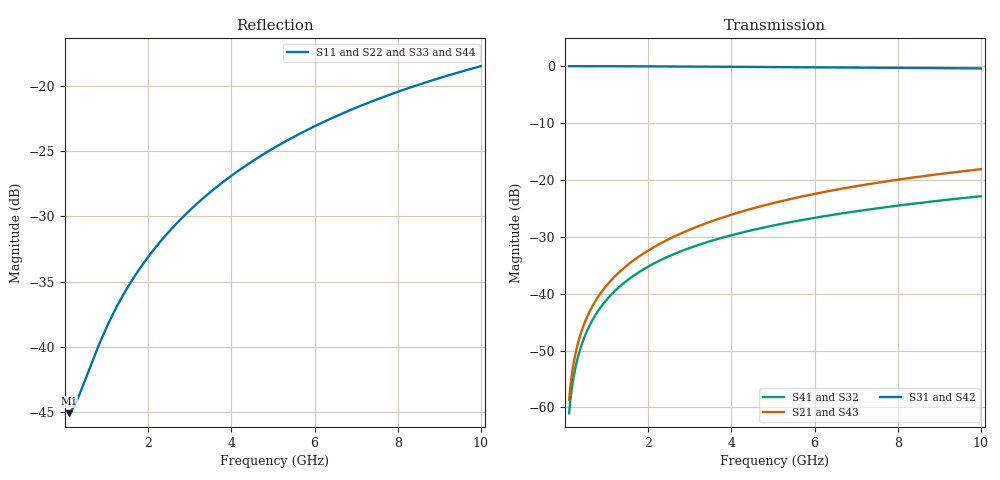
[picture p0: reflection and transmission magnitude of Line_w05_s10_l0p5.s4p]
! TOUCHSTONE file generated by CST MICROWAVE STUDIO
! Date and time: Mon Oct 20 12:54:10 2014
! Project name: Untitled_1.cst
# GHZ S MA R 50
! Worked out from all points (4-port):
!   1001 points, 100 MHz to 10 GHz, reference 50 ohm
!   strongest paths, dB at 100 MHz, 2.575 GHz, 5.05 GHz, 7.525 GHz, 10 GHz:
!     S31: 0.0, -0.1, -0.2, -0.3, -0.4
!     S42: 0.0, -0.1, -0.2, -0.3, -0.4
!     S21: -58.6, -30.2, -24.0, -20.5, -18.2
!     S43: -58.6, -30.2, -24.0, -20.5, -18.2
!     S41: -61.0, -33.2, -28.0, -25.0, -22.9
!     S32: -61.0, -33.2, -28.0, -25.0, -22.9
!   lowest |S11| = -45.1 dB at 100 MHz (marker M1), VSWR 1.01, Z = 50.5 + j0.106 ohm
!   |S11| at or under -10 dB: start of sweep to end of sweep
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0.1  0.005569 10.8  0.00117 89.9  0.9945 -0.2  0.0008881 -90.5
     0.00117 89.9  0.00557 10.9  0.0008881 -90.5  0.9945 -0.2
     0.9945 -0.2  0.0008881 -90.5  0.005569 10.8  0.00117 89.9
     0.0008881 -90.5  0.9945 -0.2  0.00117 89.9  0.00557 10.9
0.3376  0.006515 32.9  0.003953 89.8  0.9944 -0.7  0.002996 -91.8
        0.003953 89.8  0.006519 32.9  0.002996 -91.8  0.9944 -0.7
        0.9944 -0.7  0.002996 -91.8  0.006515 32.9  0.003953 89.8
        0.002996 -91.8  0.9944 -0.7  0.003953 89.8  0.006519 32.9
0.7237  0.009366 54.2  0.008494 89.6  0.994 -1.5  0.0064 -93.9
        0.008494 89.6  0.009378 54.2  0.0064 -93.9  0.994 -1.5
        0.994 -1.5  0.0064 -93.9  0.009366 54.2  0.008494 89.6
        0.0064 -93.9  0.994 -1.5  0.008494 89.6  0.009378 54.2
1.3573  0.01537 68.9  0.01604 89.1  0.9926 -2.8  0.01188 -97.2
        0.01604 89.1  0.01539 68.9  0.01188 -97.2  0.9926 -2.8
        0.9926 -2.8  0.01188 -97.2  0.01537 68.9  0.01604 89.1
        0.01188 -97.2  0.9926 -2.8  0.01604 89.1  0.01539 68.9
2.2681  0.02502 76.6  0.0272 88.0  0.9896 -4.5  0.01943 -101.5
        0.0272 88.0  0.02506 76.6  0.01943 -101.5  0.9896 -4.5
        0.9896 -4.5  0.01943 -101.5  0.02502 76.6  0.0272 88.0
        0.01943 -101.5  0.9896 -4.5  0.0272 88.0  0.02506 76.7
5.2777  0.06085 79.5  0.06583 81.9  0.9754 -10.1  0.04145 -112.4
        0.06583 81.9  0.06095 79.5  0.04144 -112.4  0.9754 -10.1
        0.9754 -10.1  0.04144 -112.4  0.06083 79.5  0.06583 81.9
        0.04145 -112.4  0.9754 -10.1  0.06583 81.9  0.06095 79.5
10  0.1186 71.4  0.1237 70.8  0.9507 -18.0  0.07162 -125.2
    0.1237 70.8  0.1188 71.4  0.07162 -125.2  0.9507 -18.0
    0.9507 -18.0  0.07162 -125.2  0.1186 71.4  0.1237 70.8
    0.07162 -125.2  0.9507 -18.0  0.1237 70.8  0.1188 71.4
